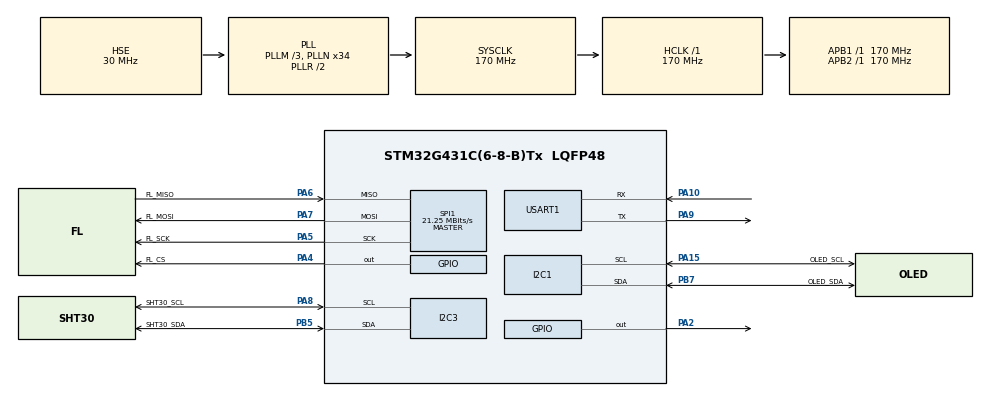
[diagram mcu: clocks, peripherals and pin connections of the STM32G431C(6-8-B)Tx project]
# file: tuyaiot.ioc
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I2C1.Timing=0x30A0A7FB
I2C3.Timing=0x30A0A7FB
Mcu.Family=STM32G4
Mcu.Name=STM32G431C(6-8-B)Tx
Mcu.Package=LQFP48
NVIC.PriorityGroup=NVIC_PRIORITYGROUP_4
NVIC.USART1_IRQn=true\:0\:0\:false\:false\:true\:true\:true
PA10.Mode=Asynchronous
PA10.Signal=USART1_RX
PA13.Mode=Serial_Wire
PA13.Signal=SYS_JTMS-SWDIO
PA14.Mode=Serial_Wire
PA14.Signal=SYS_JTCK-SWCLK
PA15.GPIO_Label=OLED_SCL
PA15.Mode=I2C
PA15.Signal=I2C1_SCL
PA2.Signal=GPIO_Output
PA4.GPIO_Label=FL_CS
PA4.Signal=GPIO_Output
PA5.GPIO_Label=FL_SCK
PA5.Mode=Full_Duplex_Master
PA5.Signal=SPI1_SCK
PA6.GPIO_Label=FL_MISO
PA6.Mode=Full_Duplex_Master
PA6.Signal=SPI1_MISO
PA7.GPIO_Label=FL_MOSI
PA7.Mode=Full_Duplex_Master
PA7.Signal=SPI1_MOSI
PA8.GPIO_Label=SHT30_SCL
PA8.Mode=I2C
PA8.Signal=I2C3_SCL
PA9.Mode=Asynchronous
PA9.Signal=USART1_TX
PB5.GPIO_Label=SHT30_SDA
PB5.Mode=I2C
PB5.Signal=I2C3_SDA
PB7.GPIO_Label=OLED_SDA
PB7.Mode=I2C
PB7.Signal=I2C1_SDA
PF0-OSC_IN.Mode=HSE-External-Oscillator
PF0-OSC_IN.Signal=RCC_OSC_IN
PF1-OSC_OUT.Mode=HSE-External-Oscillator
PF1-OSC_OUT.Signal=RCC_OSC_OUT
ProjectManager.HeapSize=0x200
ProjectManager.StackSize=0x400
ProjectManager.TargetToolchain=SW4STM32
RCC.ADC12Freq_Value=170000000
RCC.AHBFreq_Value=170000000
RCC.APB1Freq_Value=170000000
RCC.APB1TimFreq_Value=170000000
RCC.APB2Freq_Value=170000000
RCC.APB2TimFreq_Value=170000000
RCC.CortexFreq_Value=170000000
RCC.EXTERNAL_CLOCK_VALUE=12288000
RCC.HCLKFreq_Value=170000000
RCC.HSE_VALUE=30000000
RCC.HSI48_VALUE=48000000
RCC.HSI_VALUE=16000000
RCC.LSE_VALUE=32768
RCC.PLLM=RCC_PLLM_DIV3
RCC.PLLN=34
RCC.PLLSourceVirtual=RCC_PLLSOURCE_HSE
RCC.SYSCLKFreq_VALUE=170000000
RCC.SYSCLKSource=RCC_SYSCLKSOURCE_PLLCLK
RCC.USBFreq_Value=170000000
RCC.VCOOutputFreq_Value=340000000
SPI1.BaudRatePrescaler=SPI_BAUDRATEPRESCALER_8
SPI1.CalculateBaudRate=21.25 MBits/s
SPI1.DataSize=SPI_DATASIZE_8BIT
SPI1.Direction=SPI_DIRECTION_2LINES
SPI1.Mode=SPI_MODE_MASTER
SPI1.VirtualType=VM_MASTER
USART1.VirtualMode-Asynchronous=VM_ASYNC
VP_SYS_VS_DBSignals.Mode=DisableDeadBatterySignals
board=custom

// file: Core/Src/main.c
/* USER CODE BEGIN Header */
/**
  ******************************************************************************
  * @file           : main.c
  * @brief          : Main program body
  ******************************************************************************
  * @attention
  *
  * <h2><center>&copy; Copyright (c) 2021 STMicroelectronics.
  * All rights reserved.</center></h2>
  *
  * This software component is licensed by ST under BSD 3-Clause license,
  * the "License"; You may not use this file except in compliance with the
  * License. You may obtain a copy of the License at:
  *                        opensource.org/licenses/BSD-3-Clause
  *
  ******************************************************************************
  */
/* USER CODE END Header */
#include "main.h"
#include "i2c.h"
#include "spi.h"
#include "usart.h"
#include "gpio.h"

/* USER CODE BEGIN Includes */
#include "oled.h"
#include "sht30.h"
#include "stdio.h"
#include "string.h"
#include "wifi.h"
/* USER CODE END Includes */

/* USER CODE BEGIN PV */
uint8_t uart_temp;
/* USER CODE END PV */

void SystemClock_Config(void);

int main(void) {
    /* USER CODE BEGIN 1 */
    uint8_t recv_dat[6] = {0};
    float temperature = 0.0;
    float humidity = 0.0;
    char ch[50] = {0};
    /* USER CODE END 1 */

    /* MCU Configuration--------------------------------------------------------*/

    /* Reset of all peripherals, Initializes the Flash interface and the Systick. */
    HAL_Init();

    /* Configure the system clock */
    SystemClock_Config();

    /* Initialize all configured peripherals */
    MX_GPIO_Init();
    MX_I2C1_Init();
    MX_I2C3_Init();
    MX_SPI1_Init();
    MX_USART1_UART_Init();
    /* USER CODE BEGIN 2 */
    wifi_protocol_init();
    HAL_UART_Receive_IT(&huart1,&uart_temp,1);
    OLED_Init();
    OLED_Display_On();
    OLED_Clear();
    SHT30_Reset();
    if (SHT30_Init() == HAL_OK)
        OLED_ShowString(0, 0, "sht30 init ok", sizeof("sht30 init ok"));
    else
        OLED_ShowString(0, 0, "sht30 init fail", sizeof("sht30 init fail"));
    /* USER CODE END 2 */

    /* Infinite loop */
    /* USER CODE BEGIN WHILE */
    while (1) {
        wifi_uart_service();
        HAL_GPIO_TogglePin(GPIOA, GPIO_PIN_2);
        if (SHT30_Read_Dat(recv_dat) == HAL_OK) {
            if (SHT30_Dat_To_Float(recv_dat, &temperature, &humidity) == 0) {
                sprintf(ch, "temperature = %d, humidity = %d", (uint32_t) temperature, (uint32_t) humidity);
                OLED_ShowString(0, 0, ch, strlen(ch));
            } else {
                sprintf(ch, "crc check fail.");
                OLED_ShowString(0, 0, ch, strlen(ch));
            }
        } else {
            sprintf(ch, "read data from sht30 fail.");
            OLED_ShowString(0, 0, ch, strlen(ch));
        }
        mcu_dp_value_update(1, (uint32_t) (temperature * 10));
        HAL_Delay(1000);
        mcu_dp_value_update(2, (uint32_t) (humidity));
        HAL_Delay(1000);
//        OLED_Clear();
        /* USER CODE END WHILE */

    }
}

void SystemClock_Config(void) {
    RCC_OscInitTypeDef RCC_OscInitStruct = {0};
    RCC_ClkInitTypeDef RCC_ClkInitStruct = {0};
    RCC_PeriphCLKInitTypeDef PeriphClkInit = {0};

    /** Configure the main internal regulator output voltage
    */
    HAL_PWREx_ControlVoltageScaling(PWR_REGULATOR_VOLTAGE_SCALE1_BOOST);
    /** Initializes the RCC Oscillators according to the specified parameters
    * in the RCC_OscInitTypeDef structure.
    */
    RCC_OscInitStruct.OscillatorType = RCC_OSCILLATORTYPE_HSE;
    RCC_OscInitStruct.HSEState = RCC_HSE_ON;
    RCC_OscInitStruct.PLL.PLLState = RCC_PLL_ON;
    RCC_OscInitStruct.PLL.PLLSource = RCC_PLLSOURCE_HSE;
    RCC_OscInitStruct.PLL.PLLM = RCC_PLLM_DIV3;
    RCC_OscInitStruct.PLL.PLLN = 34;
    RCC_OscInitStruct.PLL.PLLP = RCC_PLLP_DIV2;
    RCC_OscInitStruct.PLL.PLLQ = RCC_PLLQ_DIV2;
    RCC_OscInitStruct.PLL.PLLR = RCC_PLLR_DIV2;
    if (HAL_RCC_OscConfig(&RCC_OscInitStruct) != HAL_OK) {
        Error_Handler();
    }
    /** Initializes the CPU, AHB and APB buses clocks
    */
    RCC_ClkInitStruct.ClockType = RCC_CLOCKTYPE_HCLK | RCC_CLOCKTYPE_SYSCLK
                                  | RCC_CLOCKTYPE_PCLK1 | RCC_CLOCKTYPE_PCLK2;
    RCC_ClkInitStruct.SYSCLKSource = RCC_SYSCLKSOURCE_PLLCLK;
    RCC_ClkInitStruct.AHBCLKDivider = RCC_SYSCLK_DIV1;
    RCC_ClkInitStruct.APB1CLKDivider = RCC_HCLK_DIV1;
    RCC_ClkInitStruct.APB2CLKDivider = RCC_HCLK_DIV1;

    if (HAL_RCC_ClockConfig(&RCC_ClkInitStruct, FLASH_LATENCY_4) != HAL_OK) {
        Error_Handler();
    }
    /** Initializes the peripherals clocks
    */
    PeriphClkInit.PeriphClockSelection = RCC_PERIPHCLK_USART1 | RCC_PERIPHCLK_I2C1
                                         | RCC_PERIPHCLK_I2C3;
    PeriphClkInit.Usart1ClockSelection = RCC_USART1CLKSOURCE_PCLK2;
    PeriphClkInit.I2c1ClockSelection = RCC_I2C1CLKSOURCE_PCLK1;
    PeriphClkInit.I2c3ClockSelection = RCC_I2C3CLKSOURCE_PCLK1;
    if (HAL_RCCEx_PeriphCLKConfig(&PeriphClkInit) != HAL_OK) {
        Error_Handler();
    }
}

/* USER CODE BEGIN 4 */
void HAL_UART_RxCpltCallback(UART_HandleTypeDef *huart){
    if (huart->Instance == huart1.Instance){
        uart_receive_input(uart_temp);
    }
    HAL_UART_Receive_IT(huart,&uart_temp,1);
}
/* USER CODE END 4 */

void Error_Handler(void) {
    __disable_irq();
    while (1) {
    }
}

/************************ (C) COPYRIGHT STMicroelectronics *****END OF FILE****/
